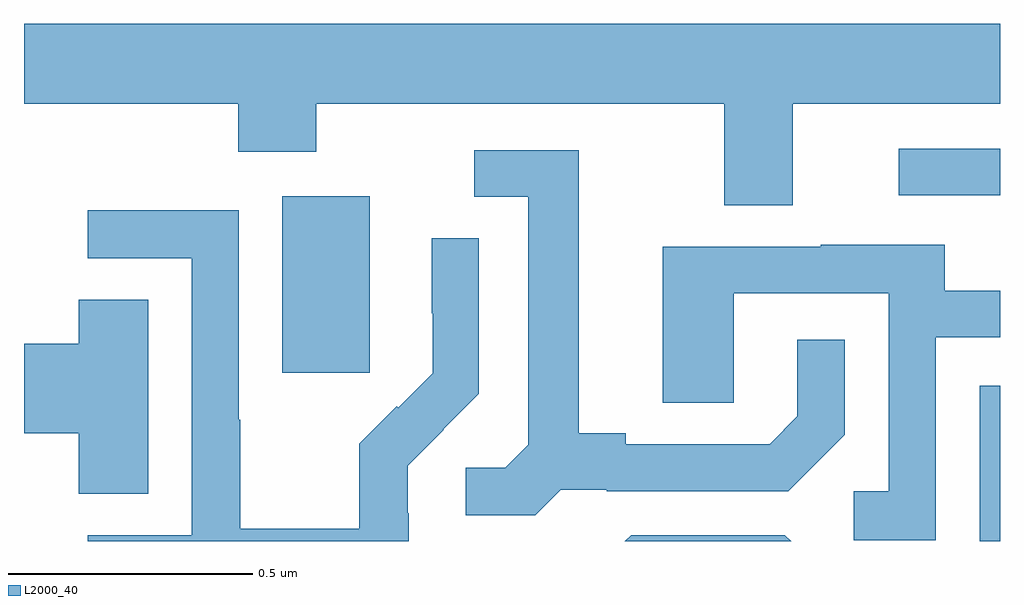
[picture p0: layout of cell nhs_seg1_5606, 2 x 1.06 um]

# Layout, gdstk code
import gdstk
lib = gdstk.Library(unit=1e-6, precision=1e-09)
def R(c, l, rs):  # rectangles x0, y0, x1, y1
    for r in rs: c.add(gdstk.rectangle(r[:2], r[2:], *l))
def P(c, l, *ps):  # polygons
    for p in ps: c.add(gdstk.Polygon(p, *l))
L2000_40 = (2000, 40)

nhs_seg1_5606 = lib.new_cell('nhs_seg1_5606')
R(nhs_seg1_5606, L2000_40, [(182.958,520.199,183,520.518), (181.529,520.545,181.708,520.906), (182.793,520.908,183,521.004)])
P(nhs_seg1_5606, L2000_40, [(182.575,521.096),(183,521.096),(183,521.26),(181,521.26),(181,521.096),(181.439,521.096),(181.439,520.997),(181.599,520.997),(181.599,521.096),(182.435,521.096),(182.435,520.888),(182.575,520.888)],
  [(182.1,520.305),(182.194,520.305),(182.194,520.302),(182.566,520.302),(182.682,520.418),(182.682,520.612),(182.585,520.612),(182.585,520.455),(182.528,520.398),(182.233,520.398),(182.233,520.421),(182.137,520.421),(182.137,521.001),(181.923,521.001),(181.923,520.905),(182.033,520.905),(182.033,520.397),(181.986,520.35),(181.905,520.35),(181.905,520.253),(182.048,520.253)],
  [(181.788,520.257),(181.786,520.257),(181.786,520.354),(181.86,520.428),(181.859,520.429),(181.932,520.502),(181.932,520.82),(181.836,520.82),(181.836,520.666),(181.838,520.666),(181.838,520.544),(181.767,520.473),(181.764,520.476),(181.687,520.399),(181.687,520.225),(181.443,520.225),(181.443,520.448),(181.44,520.448),(181.44,520.878),(181.131,520.878),(181.131,520.779),(181.344,520.779),(181.344,520.212),(181.131,520.212),(181.131,520.199),(181.788,520.199)],
  [(182.868,520.617),(183,520.617),(183,520.713),(182.887,520.713),(182.887,520.807),(182.633,520.807),(182.633,520.803),(182.309,520.803),(182.309,520.483),(182.454,520.483),(182.454,520.707),(182.772,520.707),(182.772,520.302),(182.7,520.302),(182.7,520.201),(182.868,520.201)],
  [(181.255,520.694),(181.112,520.694),(181.112,520.604),(181,520.604),(181,520.421),(181.112,520.421),(181.112,520.297),(181.255,520.297)],
  [(182.559,520.212),(182.244,520.212),(182.231,520.199),(182.572,520.199)])

lib.write_gds('nhs_seg1_5606.gds')
